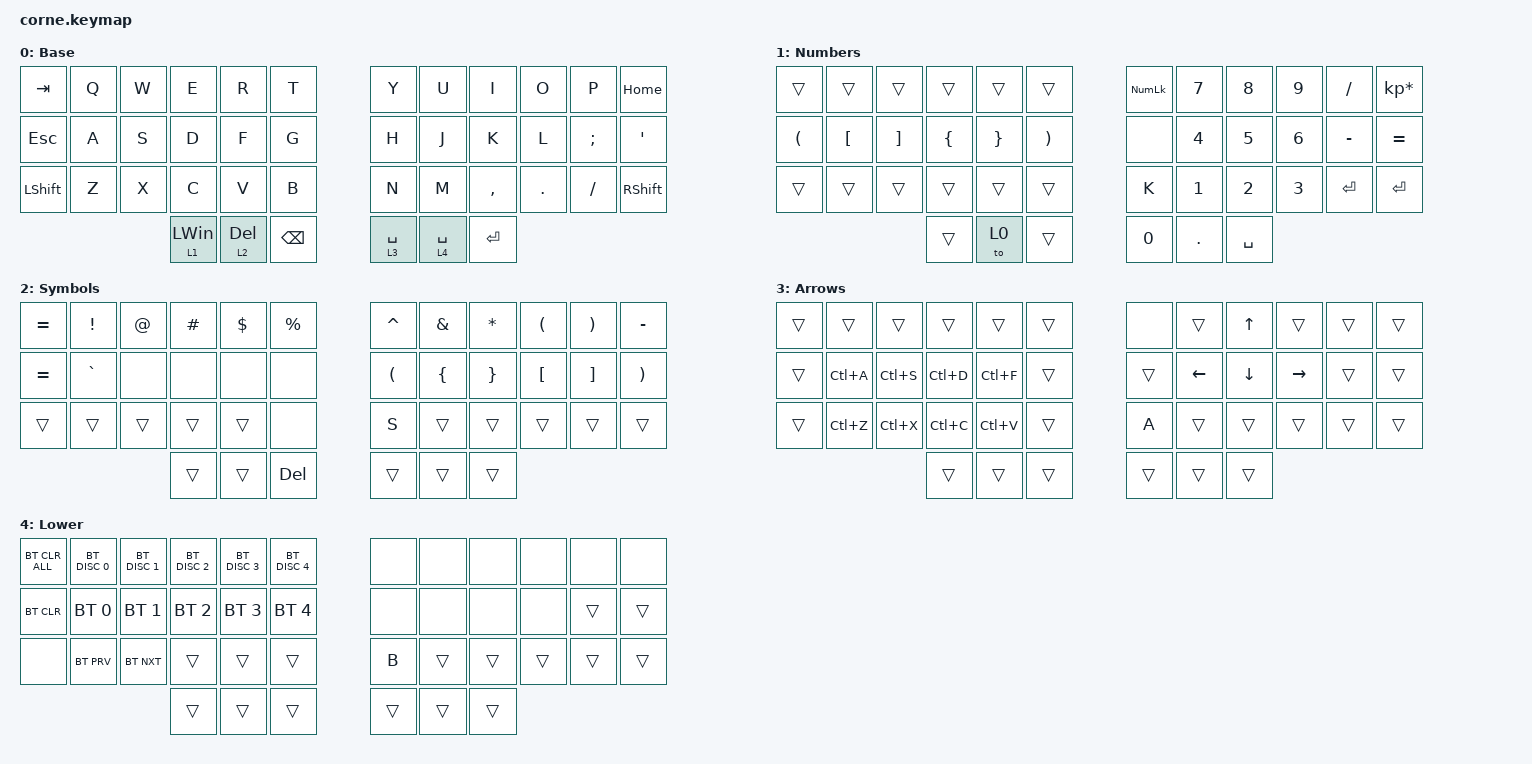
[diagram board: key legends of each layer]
/*
 * Copyright (c) 2020 The ZMK Contributors
 *
 * SPDX-License-Identifier: MIT
 */

#include <behaviors.dtsi>
#include <dt-bindings/zmk/bt.h>
#include <dt-bindings/zmk/keys.h>

/ {
    behaviors {
        layer_taps: layer_taps {
            compatible = "zmk,behavior-tap-dance";
            label = "LAYER_TAPS";
            #binding-cells = <0>;
            bindings = <&to 1>, <&to 2>, <&to 3>, <&to 4>, <&to 0>;
        };
    };

    keymap {
        compatible = "zmk,keymap";

        default_layer {
            // -----------------------------------------------------------------------------------------
            // |  TAB |  Q  |  W  |  E  |  R  |  T  |   |  Y  |  U   |  I  |  O  |  P  | BKSP |
            // | CTRL |  A  |  S  |  D  |  F  |  G  |   |  H  |  J   |  K  |  L  |  ;  |  '   |
            // | SHFT |  Z  |  X  |  C  |  V  |  B  |   |  N  |  M   |  ,  |  .  |  /  | ESC  |
            //                    | GUI | LWR | SPC |   | ENT | RSE  | ALT |

            display-name = "Base";
            bindings = <
&kp TAB         &kp Q  &kp W  &kp E           &kp R         &kp T            &kp Y        &kp U        &kp I      &kp O    &kp P          &kp HOME
&kp ESCAPE      &kp A  &kp S  &kp D           &kp F         &kp G            &kp H        &kp J        &kp K      &kp L    &kp SEMICOLON  &kp SQT
&kp LEFT_SHIFT  &kp Z  &kp X  &kp C           &kp V         &kp B            &kp N        &kp M        &kp COMMA  &kp DOT  &kp FSLH       &kp RSHIFT
                              &lt 1 LEFT_WIN  &lt 2 DELETE  &kp BACKSPACE    &lt 3 SPACE  &lt 4 SPACE  &kp ENTER
            >;
        };

        Numbers {
            bindings = <
&trans                &trans    &trans    &trans          &trans           &trans                   &kp KP_NUMLOCK  &kp N7   &kp N8     &kp N9  &kp FSLH   &kp KP_ASTERISK
&kp LEFT_PARENTHESIS  &kp LBKT  &kp RBKT  &kp LEFT_BRACE  &kp RIGHT_BRACE  &kp RIGHT_PARENTHESIS    &none           &kp N4   &kp N5     &kp N6  &kp MINUS  &kp EQUAL
&trans                &trans    &trans    &trans          &trans           &trans                   &kp K           &kp N1   &kp N2     &kp N3  &kp RET    &kp ENTER
                                          &trans          &to 0            &trans                   &kp N0          &kp DOT  &kp SPACE
            >;
        };

        Symbols {
            bindings = <
&kp EQUAL  &kp EXCL   &kp AT  &kp POUND  &kp DLLR  &kp PRCNT     &kp CARET  &kp AMPS  &kp STAR  &kp LPAR  &kp RPAR  &kp MINUS
&kp EQUAL  &kp GRAVE  &none   &none      &none     &none         &kp LPAR   &kp LBRC  &kp RBRC  &kp LBKT  &kp RBKT  &kp RPAR
&trans     &trans     &trans  &trans     &trans    &none         &kp S      &trans    &trans    &trans    &trans    &trans
                              &trans     &trans    &kp DELETE    &trans     &trans    &trans
            >;
        };

        Arrows {
            bindings = <
&trans  &trans     &trans     &trans     &trans     &trans    &none   &trans    &kp UP    &trans     &trans  &trans
&trans  &kp LC(A)  &kp LC(S)  &kp LC(D)  &kp LC(F)  &trans    &trans  &kp LEFT  &kp DOWN  &kp RIGHT  &trans  &trans
&trans  &kp LC(Z)  &kp LC(X)  &kp LC(C)  &kp LC(V)  &trans    &kp A   &trans    &trans    &trans     &trans  &trans
                              &trans     &trans     &trans    &trans  &trans    &trans
            >;
        };

        Bluetooth {
            // -----------------------------------------------------------------------------------------
            // |  TAB |  1  |  2  |  3  |  4  |  5  |   |  6  |  7  |  8  |  9  |  0  | BKSP |
            // | BTCLR| BT1 | BT2 | BT3 | BT4 | BT5 |   | LFT | DWN |  UP | RGT |     |      |
            // | SHFT |     |     |     |     |     |   |     |     |     |     |     |      |
            //                    | GUI |     | SPC |   | ENT |     | ALT |

            display-name = "Lower";
            bindings = <
&bt BT_CLR_ALL  &bt BT_DISC 0  &bt BT_DISC 1  &bt BT_DISC 2  &bt BT_DISC 3  &bt BT_DISC 4    &none   &none   &none   &none   &none   &none
&bt BT_CLR      &bt BT_SEL 0   &bt BT_SEL 1   &bt BT_SEL 2   &bt BT_SEL 3   &bt BT_SEL 4     &none   &none   &none   &none   &trans  &trans
&none           &bt BT_PRV     &bt BT_NXT     &trans         &trans         &trans           &kp B   &trans  &trans  &trans  &trans  &trans
                                              &trans         &trans         &trans           &trans  &trans  &trans
            >;
        };
    };
};
